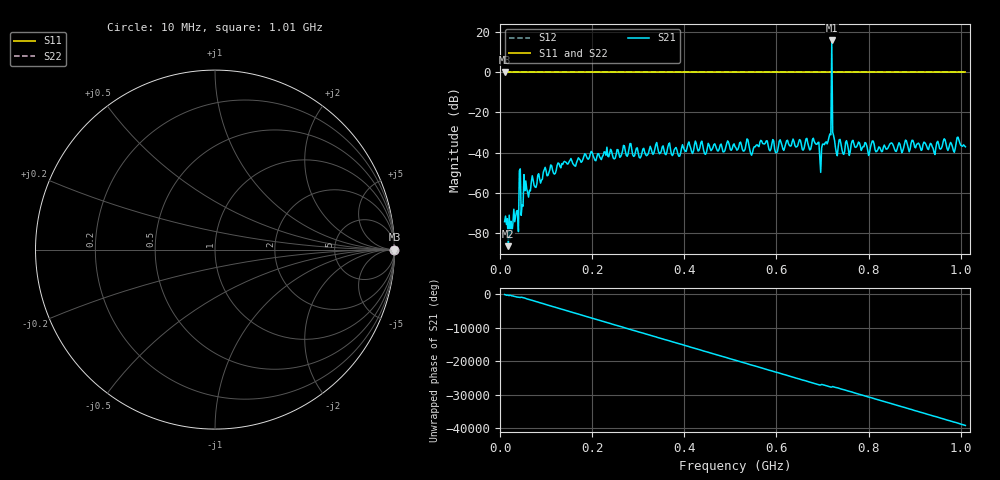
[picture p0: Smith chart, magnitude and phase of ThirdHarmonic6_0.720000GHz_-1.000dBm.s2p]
! 8/16/2025 12:05:05 AM
! C:\ANRITSUVNA\TEMP\TEMP.S2P
! CHANNEL.1
! TR.MEASUREMENT
! RAW.DATA
! RF.CORRECTION.OFF
! AVERAGING.OFF
! IF.BANDWIDTH: 5KHZ
! SWEEPTYPE:  FREQ.SWEEP(Linear)
! Reference Plane Port Info
! PORT:  PORT1  PORT2
! DISTANCE:  0  m  0  m
! TIME:  0  s  0  s
! PHASE.OFFSET:  0  deg.  0  deg.
! LOSS:  0  dB  0  dB
! REF.LOSS:  0  dB  0  dB
! REF.FREQ:  0  Hz  0  Hz
! Power Info
! POWER:  -20  dBm  -20  dBm
! EFF.POWER:  -20  dBm  -20  dBm
! SOURCE.ATTEN:  0  dB  0  dB
! TEST.ATTEN:  0  dB  0  dB
# GHZ S RI R 50.0
! FREQ.GHZ  S11RE  S11IM  S21RE  S21IM  S12RE  S12IM  S22RE  S22IM
!; PortSelection: Port_12
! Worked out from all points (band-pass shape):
!   501 points, 10 MHz to 1.01 GHz, reference 50 ohm
!   highest |S21| = 15.57 dB at 720 MHz (marker M1); lowest = -86.4 dB at 18 MHz (marker M2)
!   |S21| within 3 dB of the highest: 719.8716 MHz to 720.132 MHz (260.5 kHz wide, 0.0362 % of centre)
!   lowest |S11| = 0.0 dB at 10 MHz (marker M3)
!   |S11| at or under -10 dB: nowhere
!   |S22| runs from 0.0 to 0.0 dB; largest |S21 - S12| = 5
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0.01  1 0  -0.000182 -6.66e-05  1 0  1 0
0.018  1 0  3.84e-05 -2.87e-05  1 0  1 0
0.036  1 0  -0.000342 -9.52e-05  1 0  1 0
0.04  1 0  -2.14e-05 0.000108  1 0  1 0
0.05  1 0  0.000468 3.56e-05  1 0  1 0
0.056  1 0  -0.0003 0.00196  1 0  1 0
0.062  1 0  -0.000642 -0.000458  1 0  1 0
0.098  1 0  -0.00429 0.000416  1 0  1 0
0.178  1 0  -0.00601 0.000622  1 0  1 0
0.344  1 0  0.0032 -0.01  1 0  1 0
0.51  1 0  0.00136 0.0139  1 0  1 0
0.678  1 0  -0.0207 0.00235  1 0  1 0
0.698  1 0  0.00585 0.0116  1 0  1 0
0.714  1 0  -0.0221 0.00976  1 0  1 0
0.716  1 0  0.0111 0.0269  1 0  1 0
0.72  1 0  5.802 -1.548  1 0  1 0
0.724  1 0  0.0138 0.0223  1 0  1 0
0.726  1 0  0.0169 -0.0112  1 0  1 0
0.744  1 0  0.0095 -0.00112  1 0  1 0
0.766  1 0  -0.0192 -0.00622  1 0  1 0
0.844  1 0  0.0099 -0.0107  1 0  1 0
1.01  1 0  0.0051 0.013  1 0  1 0
